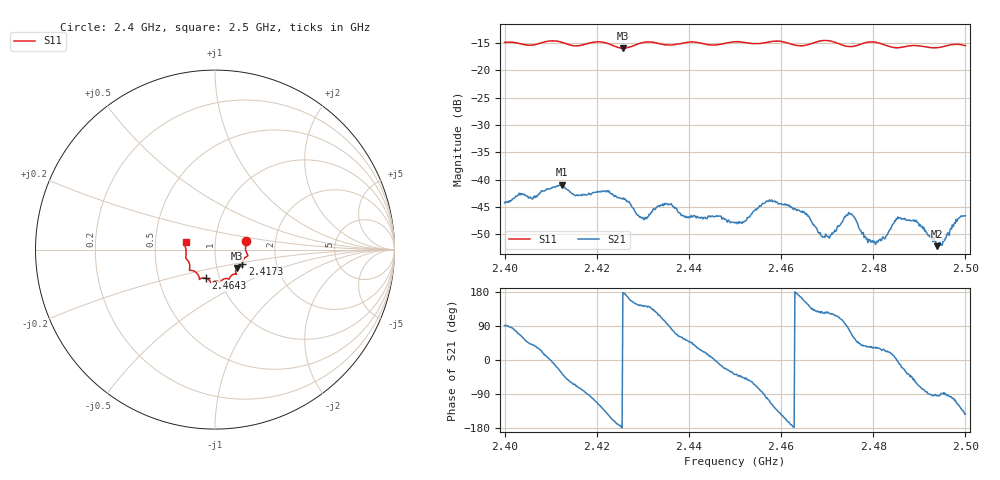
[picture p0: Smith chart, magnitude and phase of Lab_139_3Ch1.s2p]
# Hz S RI R 50
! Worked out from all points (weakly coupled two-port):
!   601 points, 2.4 GHz to 2.5 GHz, reference 50 ohm
!   highest |S21| = -40.89 dB at 2.4125 GHz (marker M1); lowest = -52.2 dB at 2.4938 GHz (marker M2)
!   lowest |S11| = -15.9 dB at 2.4257 GHz (marker M3), VSWR 1.38, Z = 62.4 - j13.1 ohm
!   |S11| at or under -10 dB: start of sweep to end of sweep
!   S12 and S22 are empty: the file has one direction only
!   S11 on the Smith chart (normalised r, x): 2.4 GHz: 1.41, +0.14; 2.4173 GHz: 1.34, -0.23; 2.4643 GHz: 0.86, -0.28; 2.5 GHz: 0.72, +0.06
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2.4e9  0.1739 0.0493  -4.02e-05 0.00612  0 0  0 0
2.4125e9  0.1766 -0.038  0.00724 -0.00538  0 0  0 0
2.416667e9  0.1529 -0.0747  0.00153 -0.00698  0 0  0 0
2.417333e9  0.1523 -0.0823  0.00085 -0.00718  0 0  0 0
2.422167e9  0.1506 -0.0944  -0.00605 -0.00506  0 0  0 0
2.425667e9  0.1223 -0.1026  -0.00664 0.000248  0 0  0 0
2.429833e9  0.1173 -0.1354  -0.00361 0.00266  0 0  0 0
2.433333e9  0.1125 -0.1365  -0.00274 0.00507  0 0  0 0
2.45e9  0.0293 -0.1809  0.00313 -0.0025  0 0  0 0
2.4575e9  -0.0162 -0.182  -0.00206 -0.00621  0 0  0 0
2.464333e9  -0.0503 -0.1603  -0.00495 0.00127  0 0  0 0
2.466667e9  -0.0763 -0.1594  -0.00284 0.00294  0 0  0 0
2.468667e9  -0.0868 -0.1655  -0.00186 0.00246  0 0  0 0
2.470333e9  -0.0871 -0.1656  -0.00169 0.0025  0 0  0 0
2.475e9  -0.1066 -0.1262  0.00123 0.00468  0 0  0 0
2.479e9  -0.1407 -0.1156  0.00234 0.00162  0 0  0 0
2.480833e9  -0.1425 -0.1103  0.00229 0.00148  0 0  0 0
2.483333e9  -0.1405 -0.0895  0.00311 0.00121  0 0  0 0
2.4855e9  -0.1469 -0.067  0.00438 -0.000532  0 0  0 0
2.488833e9  -0.1626 -0.0471  0.00265 -0.00321  0 0  0 0
2.493833e9  -0.1615 -0.00351  -0.000173 -0.00245  0 0  0 0
2.5e9  -0.1635 0.0415  -0.00374 -0.0028  0 0  0 0
